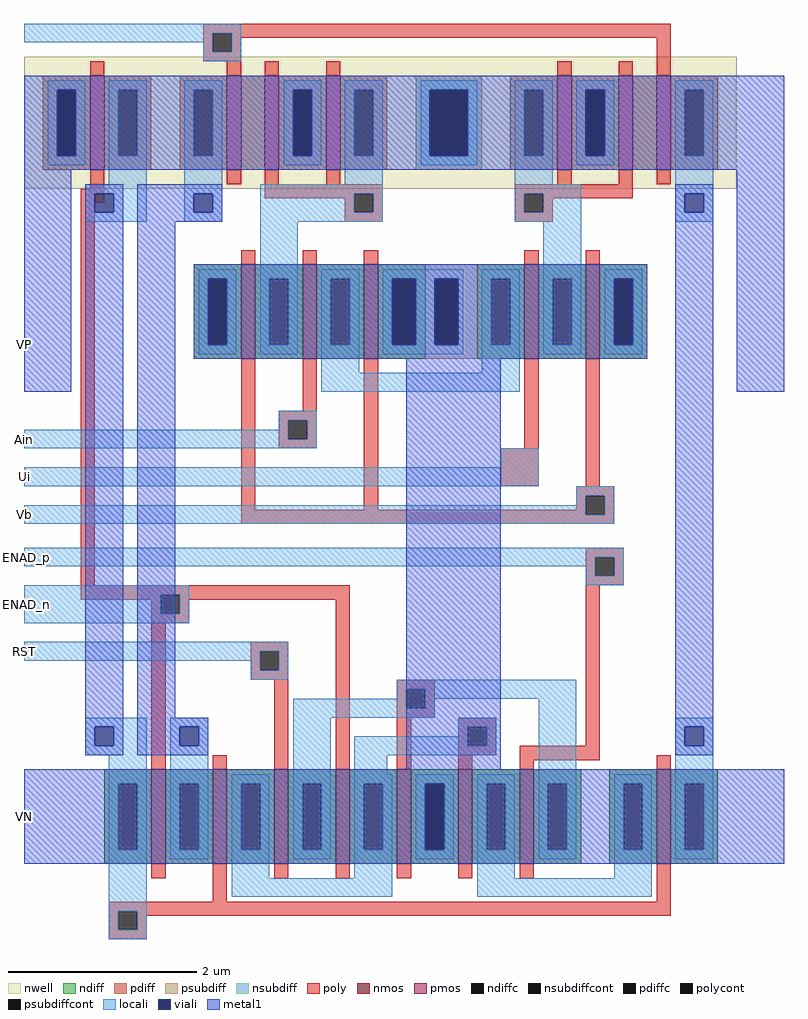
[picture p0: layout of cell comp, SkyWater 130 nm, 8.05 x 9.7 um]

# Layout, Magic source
magic
tech sky130A
<< nwell >>
rect -135 715 620 855
<< nmos >>
rect 95 535 110 635
rect 160 535 175 635
rect 225 535 240 635
rect 395 535 410 635
rect 460 535 475 635
rect 0 0 15 100
rect 65 0 80 100
rect 130 0 145 100
rect 195 0 210 100
rect 260 0 275 100
rect 325 0 340 100
rect 390 0 405 100
rect 535 0 550 100
<< pmos >>
rect -65 735 -50 835
rect 80 735 95 835
rect 120 735 135 835
rect 185 735 200 835
rect 430 735 445 835
rect 495 735 510 835
rect 535 735 550 835
<< ndiff >>
rect 45 620 95 635
rect 45 550 60 620
rect 80 550 95 620
rect 45 535 95 550
rect 110 620 160 635
rect 110 550 125 620
rect 145 550 160 620
rect 110 535 160 550
rect 175 620 225 635
rect 175 550 190 620
rect 210 550 225 620
rect 175 535 225 550
rect 240 620 290 635
rect 345 620 395 635
rect 240 550 255 620
rect 280 550 290 620
rect 345 550 360 620
rect 380 550 395 620
rect 240 535 290 550
rect 345 535 395 550
rect 410 620 460 635
rect 410 550 425 620
rect 445 550 460 620
rect 410 535 460 550
rect 475 620 525 635
rect 475 550 490 620
rect 510 550 525 620
rect 475 535 525 550
rect -50 85 0 100
rect -50 15 -35 85
rect -15 15 0 85
rect -50 0 0 15
rect 15 85 65 100
rect 15 15 30 85
rect 50 15 65 85
rect 15 0 65 15
rect 80 85 130 100
rect 80 15 95 85
rect 115 15 130 85
rect 80 0 130 15
rect 145 85 195 100
rect 145 15 160 85
rect 180 15 195 85
rect 145 0 195 15
rect 210 85 260 100
rect 210 15 225 85
rect 245 15 260 85
rect 210 0 260 15
rect 275 85 325 100
rect 275 15 290 85
rect 310 15 325 85
rect 275 0 325 15
rect 340 85 390 100
rect 340 15 355 85
rect 375 15 390 85
rect 340 0 390 15
rect 405 85 455 100
rect 405 15 420 85
rect 440 15 455 85
rect 405 0 455 15
rect 485 85 535 100
rect 485 15 500 85
rect 520 15 535 85
rect 485 0 535 15
rect 550 85 600 100
rect 550 15 565 85
rect 585 15 600 85
rect 550 0 600 15
<< pdiff >>
rect -115 820 -65 835
rect -115 750 -100 820
rect -80 750 -65 820
rect -115 735 -65 750
rect -50 820 0 835
rect -50 750 -35 820
rect -15 750 0 820
rect -50 735 0 750
rect 30 820 80 835
rect 30 750 45 820
rect 65 750 80 820
rect 30 735 80 750
rect 95 735 120 835
rect 135 820 185 835
rect 135 750 150 820
rect 170 750 185 820
rect 135 735 185 750
rect 200 820 250 835
rect 200 750 215 820
rect 235 750 250 820
rect 200 735 250 750
rect 380 820 430 835
rect 380 750 395 820
rect 415 750 430 820
rect 380 735 430 750
rect 445 820 495 835
rect 445 750 460 820
rect 480 750 495 820
rect 445 735 495 750
rect 510 735 535 835
rect 550 820 600 835
rect 550 750 565 820
rect 585 750 600 820
rect 550 735 600 750
<< ndiffc >>
rect 60 550 80 620
rect 125 550 145 620
rect 190 550 210 620
rect 255 550 280 620
rect 360 550 380 620
rect 425 550 445 620
rect 490 550 510 620
rect -35 15 -15 85
rect 30 15 50 85
rect 95 15 115 85
rect 160 15 180 85
rect 225 15 245 85
rect 290 15 310 85
rect 355 15 375 85
rect 420 15 440 85
rect 500 15 520 85
rect 565 15 585 85
<< pdiffc >>
rect -100 750 -80 820
rect -35 750 -15 820
rect 45 750 65 820
rect 150 750 170 820
rect 215 750 235 820
rect 395 750 415 820
rect 460 750 480 820
rect 565 750 585 820
<< psubdiff >>
rect 290 620 345 635
rect 290 550 300 620
rect 325 550 345 620
rect 290 535 345 550
<< nsubdiff >>
rect 280 820 350 835
rect 280 750 295 820
rect 335 750 350 820
rect 280 735 350 750
<< psubdiffcont >>
rect 300 550 325 620
<< nsubdiffcont >>
rect 295 750 335 820
<< poly >>
rect 55 880 550 890
rect 55 860 65 880
rect 85 875 550 880
rect 85 860 95 875
rect 55 850 95 860
rect -65 835 -50 850
rect 80 835 95 850
rect 120 835 135 850
rect 185 835 200 850
rect 430 835 445 850
rect 495 835 510 850
rect 535 835 550 875
rect -65 715 -50 735
rect 80 720 95 735
rect 120 720 135 735
rect 185 720 200 735
rect 430 720 445 735
rect 495 720 510 735
rect 535 720 550 735
rect -75 700 -50 715
rect 120 710 245 720
rect 120 705 215 710
rect -75 295 -60 700
rect 205 690 215 705
rect 235 690 245 710
rect 205 680 245 690
rect 385 710 510 720
rect 385 690 395 710
rect 415 705 510 710
rect 415 690 425 705
rect 385 680 425 690
rect 95 635 110 650
rect 160 635 175 650
rect 225 635 240 650
rect 395 635 410 650
rect 460 635 475 650
rect 95 375 110 535
rect 160 480 175 535
rect 135 470 175 480
rect 135 450 145 470
rect 165 450 175 470
rect 135 440 175 450
rect 225 375 240 535
rect 395 440 410 535
rect 370 400 410 440
rect 460 400 475 535
rect 450 390 490 400
rect 450 375 460 390
rect 95 370 460 375
rect 480 370 490 390
rect 95 360 490 370
rect 460 325 500 335
rect 460 305 470 325
rect 490 305 500 325
rect 460 295 500 305
rect -75 285 210 295
rect -75 280 10 285
rect 0 265 10 280
rect 30 280 210 285
rect 30 265 40 280
rect 0 255 40 265
rect 0 100 15 255
rect 105 225 145 235
rect 105 205 115 225
rect 135 205 145 225
rect 105 195 145 205
rect 65 100 80 115
rect 130 100 145 195
rect 195 100 210 280
rect 260 185 300 195
rect 260 165 270 185
rect 290 165 300 185
rect 260 155 300 165
rect 260 100 275 155
rect 325 145 365 155
rect 325 125 335 145
rect 355 125 365 145
rect 460 125 475 295
rect 325 115 365 125
rect 325 100 340 115
rect 390 110 475 125
rect 390 100 405 110
rect 535 100 550 115
rect 0 -15 15 0
rect 65 -40 80 0
rect 130 -15 145 0
rect 195 -15 210 0
rect 260 -15 275 0
rect 325 -15 340 0
rect 390 -15 405 0
rect 535 -40 550 0
rect -45 -50 550 -40
rect -45 -70 -35 -50
rect -15 -55 550 -50
rect -15 -70 -5 -55
rect -45 -80 -5 -70
<< polycont >>
rect 65 860 85 880
rect 215 690 235 710
rect 395 690 415 710
rect 145 450 165 470
rect 460 370 480 390
rect 470 305 490 325
rect 10 265 30 285
rect 115 205 135 225
rect 270 165 290 185
rect 335 125 355 145
rect -35 -70 -15 -50
<< locali >>
rect -135 880 95 890
rect -135 870 65 880
rect 55 860 65 870
rect 85 860 95 880
rect 55 850 95 860
rect -110 820 -70 830
rect -110 750 -100 820
rect -80 750 -70 820
rect -110 740 -70 750
rect -45 820 -5 830
rect -45 750 -35 820
rect -15 750 -5 820
rect -45 720 -5 750
rect -70 710 -5 720
rect -70 690 -60 710
rect -40 690 -5 710
rect -70 680 -5 690
rect 35 820 75 830
rect 35 750 45 820
rect 65 750 75 820
rect 35 710 75 750
rect 140 820 180 830
rect 140 750 150 820
rect 170 750 180 820
rect 140 740 180 750
rect 205 820 245 830
rect 205 750 215 820
rect 235 750 245 820
rect 205 720 245 750
rect 285 820 345 830
rect 285 750 295 820
rect 335 750 345 820
rect 285 740 345 750
rect 385 820 425 830
rect 385 750 395 820
rect 415 750 425 820
rect 35 690 45 710
rect 65 690 75 710
rect 35 680 75 690
rect 115 710 245 720
rect 115 690 215 710
rect 235 690 245 710
rect 115 680 245 690
rect 385 720 425 750
rect 450 820 490 830
rect 450 750 460 820
rect 480 750 490 820
rect 450 740 490 750
rect 555 820 595 830
rect 555 750 565 820
rect 585 750 595 820
rect 385 710 455 720
rect 385 690 395 710
rect 415 690 455 710
rect 385 680 455 690
rect 555 710 595 750
rect 555 690 565 710
rect 585 690 595 710
rect 555 680 595 690
rect 50 620 90 630
rect 50 550 60 620
rect 80 550 90 620
rect 50 540 90 550
rect 115 620 155 680
rect 115 550 125 620
rect 145 550 155 620
rect 115 540 155 550
rect 180 620 220 630
rect 180 550 190 620
rect 210 550 220 620
rect 180 520 220 550
rect 245 620 330 630
rect 245 550 255 620
rect 280 550 300 620
rect 325 550 330 620
rect 245 540 330 550
rect 350 620 390 630
rect 350 550 360 620
rect 380 550 390 620
rect 350 520 390 550
rect 415 620 455 680
rect 415 550 425 620
rect 445 550 455 620
rect 415 540 455 550
rect 480 620 520 630
rect 480 550 490 620
rect 510 550 520 620
rect 480 540 520 550
rect 180 500 390 520
rect 135 470 175 480
rect 135 460 145 470
rect -135 450 145 460
rect 165 450 175 470
rect -135 440 175 450
rect 370 420 410 440
rect -135 400 410 420
rect 450 390 490 400
rect 450 380 460 390
rect -135 370 460 380
rect 480 370 490 390
rect -135 360 490 370
rect -135 325 500 335
rect -135 315 470 325
rect 460 305 470 315
rect 490 305 500 325
rect 460 295 500 305
rect -135 285 40 295
rect -135 265 10 285
rect 30 265 40 285
rect -135 255 40 265
rect -135 225 145 235
rect -135 215 115 225
rect 105 205 115 215
rect 135 205 145 225
rect 105 195 145 205
rect 260 185 450 195
rect 260 175 270 185
rect 150 165 270 175
rect 290 175 450 185
rect 290 165 300 175
rect 150 155 300 165
rect -70 145 -5 155
rect -70 125 -60 145
rect -40 125 -5 145
rect -70 115 -5 125
rect -45 85 -5 115
rect -45 15 -35 85
rect -15 15 -5 85
rect -45 -50 -5 15
rect 20 145 60 155
rect 20 125 30 145
rect 50 125 60 145
rect 20 85 60 125
rect 20 15 30 85
rect 50 15 60 85
rect 20 5 60 15
rect 85 85 125 95
rect 85 15 95 85
rect 115 15 125 85
rect 85 -15 125 15
rect 150 85 190 155
rect 325 145 365 155
rect 325 135 335 145
rect 150 15 160 85
rect 180 15 190 85
rect 150 5 190 15
rect 215 125 335 135
rect 355 125 365 145
rect 215 115 365 125
rect 215 95 250 115
rect 215 85 255 95
rect 215 15 225 85
rect 245 15 255 85
rect 215 -15 255 15
rect 280 85 320 95
rect 280 15 290 85
rect 310 15 320 85
rect 280 5 320 15
rect 345 85 385 95
rect 345 15 355 85
rect 375 15 385 85
rect 85 -35 255 -15
rect 345 -15 385 15
rect 410 85 450 175
rect 555 145 595 155
rect 555 125 565 145
rect 585 125 595 145
rect 410 15 420 85
rect 440 15 450 85
rect 410 5 450 15
rect 490 85 530 95
rect 490 15 500 85
rect 520 15 530 85
rect 490 -15 530 15
rect 555 85 595 125
rect 555 15 565 85
rect 585 15 595 85
rect 555 5 595 15
rect 345 -35 530 -15
rect -45 -70 -35 -50
rect -15 -70 -5 -50
rect -45 -80 -5 -70
<< viali >>
rect -100 750 -80 820
rect -60 690 -40 710
rect 150 750 170 820
rect 295 750 335 820
rect 45 690 65 710
rect 460 750 480 820
rect 565 690 585 710
rect 60 550 80 620
rect 255 550 280 620
rect 300 550 325 620
rect 490 550 510 620
rect -60 125 -40 145
rect 30 125 50 145
rect 290 15 310 85
rect 565 125 585 145
<< metal1 >>
rect -135 820 670 835
rect -135 750 -100 820
rect -80 750 150 820
rect 170 750 295 820
rect 335 750 460 820
rect 480 750 670 820
rect -135 735 670 750
rect -135 500 -85 735
rect -70 710 -30 720
rect -70 690 -60 710
rect -40 690 -30 710
rect -70 145 -30 690
rect -70 125 -60 145
rect -40 125 -30 145
rect -70 115 -30 125
rect -15 710 75 720
rect -15 690 45 710
rect 65 690 75 710
rect -15 680 75 690
rect 555 710 595 720
rect 555 690 565 710
rect 585 690 595 710
rect -15 155 25 680
rect 45 620 525 635
rect 45 550 60 620
rect 80 550 255 620
rect 280 550 300 620
rect 325 550 490 620
rect 510 550 525 620
rect 45 535 525 550
rect -15 145 60 155
rect -15 125 30 145
rect 50 125 60 145
rect -15 115 60 125
rect 270 100 370 535
rect 555 145 595 690
rect 620 500 670 735
rect 555 125 565 145
rect 585 125 595 145
rect 555 115 595 125
rect -135 85 670 100
rect -135 15 290 85
rect 310 15 670 85
rect -135 0 670 15
<< labels >>
flabel metal1 -135 50 -135 50 0 FreeSans 400 0 0 0 VN
port 2 nsew
flabel metal1 -135 550 -135 550 0 FreeSans 400 0 0 0 VP
port 3 nsew
flabel locali -135 225 -135 225 0 FreeSans 160 0 0 0 RST
port 4 nsew
flabel locali -135 275 -135 275 0 FreeSans 160 0 0 0 ENAD_n
port 5 nsew
flabel locali -135 325 -135 325 0 FreeSans 160 0 0 0 ENAD_p
port 6 nsew
flabel locali -135 450 -135 450 0 FreeSans 160 0 0 0 Ain
port 7 nsew
flabel locali -135 410 -135 410 0 FreeSans 160 0 0 0 Ui
port 8 nsew
flabel locali -135 370 -135 370 0 FreeSans 160 0 0 0 Vb
port 9 nsew
<< end >>
